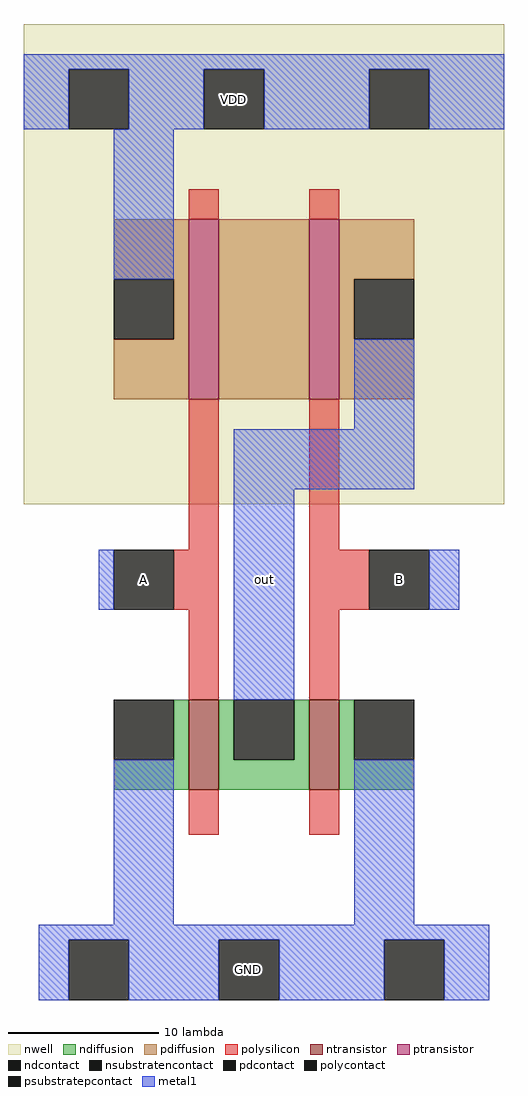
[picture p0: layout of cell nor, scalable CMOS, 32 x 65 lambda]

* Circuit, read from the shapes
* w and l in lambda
.subckt nor A B GND VDD out
M1 out A GND GND nfet w=6 l=2
M2 GND B out GND nfet w=6 l=2
M3 n1 A VDD VDD pfet w=12 l=2
M4 out B n1 VDD pfet w=12 l=2
.ends

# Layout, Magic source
magic
tech scmos
<< nwell >>
rect -6 -7 26 25
<< ntransistor >>
rect 5 -26 7 -20
rect 13 -26 15 -20
<< ptransistor >>
rect 5 0 7 12
rect 13 0 15 12
<< ndiffusion >>
rect 4 -24 5 -20
rect 0 -26 5 -24
rect 7 -24 8 -20
rect 12 -24 13 -20
rect 7 -26 13 -24
rect 15 -24 16 -20
rect 15 -26 20 -24
<< pdiffusion >>
rect 0 8 5 12
rect 4 4 5 8
rect 0 0 5 4
rect 7 0 13 12
rect 15 8 20 12
rect 15 4 16 8
rect 15 0 20 4
<< ndcontact >>
rect 0 -24 4 -20
rect 8 -24 12 -20
rect 16 -24 20 -20
<< pdcontact >>
rect 0 4 4 8
rect 16 4 20 8
<< psubstratepcontact >>
rect -3 -40 1 -36
rect 7 -40 11 -36
rect 18 -40 22 -36
<< nsubstratencontact >>
rect -3 18 1 22
rect 6 18 10 22
rect 17 18 21 22
<< polysilicon >>
rect 5 12 7 14
rect 13 12 15 14
rect 5 -10 7 0
rect 4 -14 7 -10
rect 5 -20 7 -14
rect 13 -10 15 0
rect 13 -14 17 -10
rect 13 -20 15 -14
rect 5 -29 7 -26
rect 13 -29 15 -26
<< polycontact >>
rect 0 -14 4 -10
rect 17 -14 21 -10
<< metal1 >>
rect -6 22 26 23
rect -6 18 -3 22
rect 1 18 6 22
rect 10 18 17 22
rect 21 18 26 22
rect 0 8 4 18
rect 16 -2 20 4
rect 8 -6 20 -2
rect -1 -14 0 -10
rect 8 -20 12 -6
rect 21 -14 23 -10
rect 0 -35 4 -24
rect 16 -35 20 -24
rect -5 -36 25 -35
rect -5 -40 -3 -36
rect 1 -40 7 -36
rect 11 -40 18 -36
rect 22 -40 25 -36
<< labels >>
rlabel nsubstratencontact 8 20 8 20 5 VDD
rlabel psubstratepcontact 9 -38 9 -38 1 GND
rlabel polycontact 19 -12 19 -12 1 B
rlabel polycontact 2 -12 2 -12 1 A
rlabel metal1 10 -12 10 -12 1 out
<< end >>
